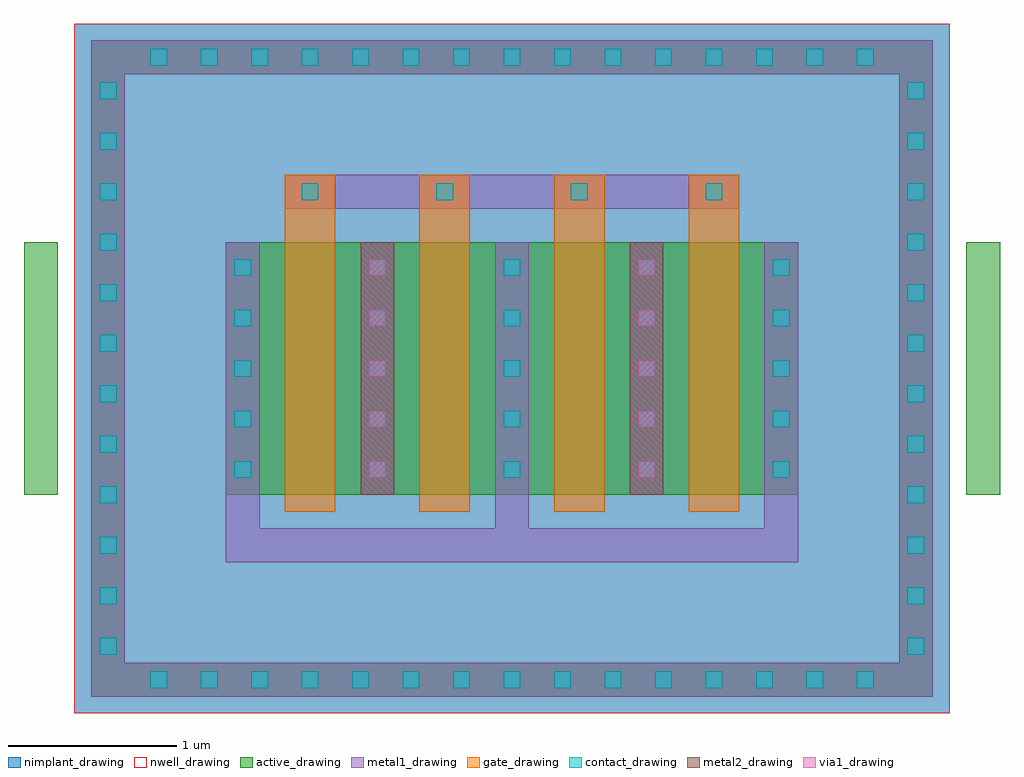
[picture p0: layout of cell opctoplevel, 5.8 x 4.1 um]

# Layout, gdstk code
import gdstk
lib = gdstk.Library(unit=1e-6, precision=1e-09)
def R(c, l, rs):  # rectangles x0, y0, x1, y1
    for r in rs: c.add(gdstk.rectangle(r[:2], r[2:], *l))
def A(c, l, x, y, w, h, nx, ny, dx, dy):  # array of equal rectangles
    R(c, l, [(x+i*dx, y+j*dy, x+i*dx+w, y+j*dy+h) for i in range(nx) for j in range(ny)])
active_drawing = (1, 0)
nwell_drawing = (3, 0)
nimplant_drawing = (5, 0)
gate_drawing = (6, 0)
contact_drawing = (7, 0)
metal1_drawing = (8, 0)
via1_drawing = (9, 0)
metal2_drawing = (10, 0)

opctoplevel = lib.new_cell('opctoplevel')
R(opctoplevel, active_drawing, [(-1.15,-1.2,3.85,-1), (-1.15,-1.2,-0.95,2.7), (-0.35,-1.2,3.05,-1), (3.65,-1.2,3.85,2.7), (-1.55,0,-1.35,1.5), (-0.35,0,3.05,1.5), (4.05,0,4.25,1.5), (-1.15,2.5,3.85,2.7), (-0.35,2.5,3.05,2.7)])
R(opctoplevel, nwell_drawing, [(-1.25,-1.3,3.95,2.8)])
R(opctoplevel, nimplant_drawing, [(-1.25,-1.3,3.95,-0.9), (-1.25,-1.3,-0.85,2.8), (3.55,-1.3,3.95,2.8), (-0.85,-0.9,3.55,2.4), (-1.25,2.4,3.95,2.8)])
A(opctoplevel, gate_drawing, 0, -0.1, 0.3, 2, 4, 1, 0.8, 0)
A(opctoplevel, contact_drawing, -0.8, -1.15, 0.1, 0.1, 15, 2, 0.3, 3.7)
A(opctoplevel, contact_drawing, -1.1, -0.95, 0.1, 0.1, 1, 12, 0, 0.3)
A(opctoplevel, contact_drawing, 3.7, -0.95, 0.1, 0.1, 1, 12, 0, 0.3)
A(opctoplevel, contact_drawing, -0.3, 0.1, 0.1, 0.1, 5, 5, 0.8, 0.3)
A(opctoplevel, contact_drawing, 0.1, 1.75, 0.1, 0.1, 4, 1, 0.8, 0)
A(opctoplevel, metal1_drawing, -0.35, -0.2, 0.2, 0.2, 3, 1, 1.6, 0)
A(opctoplevel, metal1_drawing, -0.35, 0, 0.2, 1.5, 5, 1, 0.8, 0)
R(opctoplevel, metal1_drawing, [(-1.15,-1.2,3.85,-1), (-1.15,-1.2,-0.95,2.7), (3.65,-1.2,3.85,2.7), (-0.35,-0.4,3.05,-0.2), (0,1.7,2.7,1.9), (-1.15,2.5,3.85,2.7)])
A(opctoplevel, via1_drawing, 0.5, 0.1, 0.1, 0.1, 1, 5, 0, 0.3)
A(opctoplevel, via1_drawing, 2.1, 0.1, 0.1, 0.1, 1, 5, 0, 0.3)
R(opctoplevel, metal2_drawing, [(0.45,0,0.65,1.5), (2.05,0,2.25,1.5)])

lib.write_gds('opctoplevel.gds')
